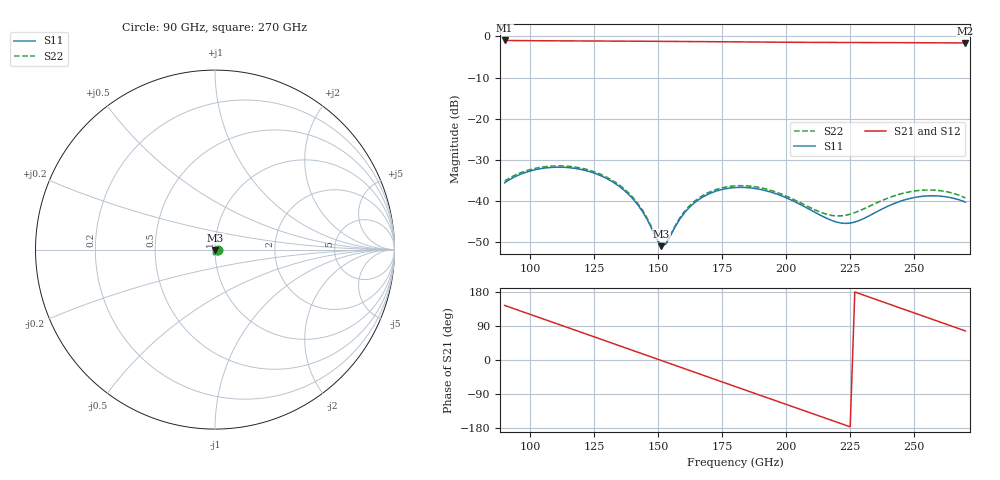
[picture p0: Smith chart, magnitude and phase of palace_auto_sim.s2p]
#  GHZ S DB R 50
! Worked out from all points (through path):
!   101 points, 90 GHz to 270 GHz, reference 50 ohm
!   highest |S21| = -1.01 dB at 90 GHz (marker M1); lowest = -1.6 dB at 270 GHz (marker M2)
!   group delay of S21, straight-line fit = 6.6 ps
!   lowest |S11| = -50.9 dB at 151.2 GHz (marker M3), VSWR 1.01, Z = 50.2 - j0.234 ohm
!   |S11| at or under -10 dB: start of sweep to end of sweep
!   |S22| runs from -50.8 to -31.5 dB; largest |S21 - S12| = 9.6e-14
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90  -35.57 -1.8  -1.01 144.1  -1.01 144.1  -35.16 -3.8
99  -32.86 -17.7  -1.05 122.7  -1.05 122.7  -32.52 -19.6
106.2  -31.94 -31.5  -1.08 105.7  -1.08 105.7  -31.62 -33.5
113.4  -31.80 -45.9  -1.11 88.6  -1.11 88.6  -31.49 -48.0
120.6  -32.42 -60.8  -1.13 71.5  -1.13 71.5  -32.10 -62.9
129.6  -34.43 -79.0  -1.15 50.1  -1.15 50.1  -34.10 -81.2
138.6  -38.46 -94.4  -1.18 28.7  -1.18 28.7  -38.12 -96.8
144  -42.67 -97.8  -1.20 15.9  -1.20 15.9  -42.33 -100.5
151.2  -50.94 -55.1  -1.23 -1.3  -1.23 -1.3  -50.81 -57.9
153  -50.41 -29.3  -1.23 -5.5  -1.23 -5.5  -50.30 -31.2
158.4  -44.40 -0.5  -1.26 -18.4  -1.26 -18.4  -44.10 -1.9
163.8  -40.60 -2.1  -1.28 -31.2  -1.28 -31.2  -40.24 -3.7
171  -37.93 -12.7  -1.31 -48.4  -1.31 -48.4  -37.55 -14.3
180  -36.71 -28.7  -1.35 -69.8  -1.35 -69.8  -36.30 -30.4
194.4  -37.89 -51.9  -1.41 -103.9  -1.41 -103.9  -37.48 -52.8
210.6  -42.50 -59.0  -1.48 -142.3  -1.48 -142.3  -41.94 -55.8
217.8  -44.70 -48.5  -1.49 -159.3  -1.49 -159.3  -43.48 -42.8
225  -45.33 -29.0  -1.51 -176.3  -1.51 -176.3  -43.17 -26.1
232.2  -43.63 -14.2  -1.52 166.6  -1.52 166.6  -41.34 -17.0
241.2  -40.83 -13.4  -1.53 145.2  -1.53 145.2  -38.94 -19.3
255.6  -38.73 -34.2  -1.57 110.9  -1.57 110.9  -37.29 -39.8
270  -40.24 -63.9  -1.61 76.6  -1.61 76.6  -39.23 -66.3
